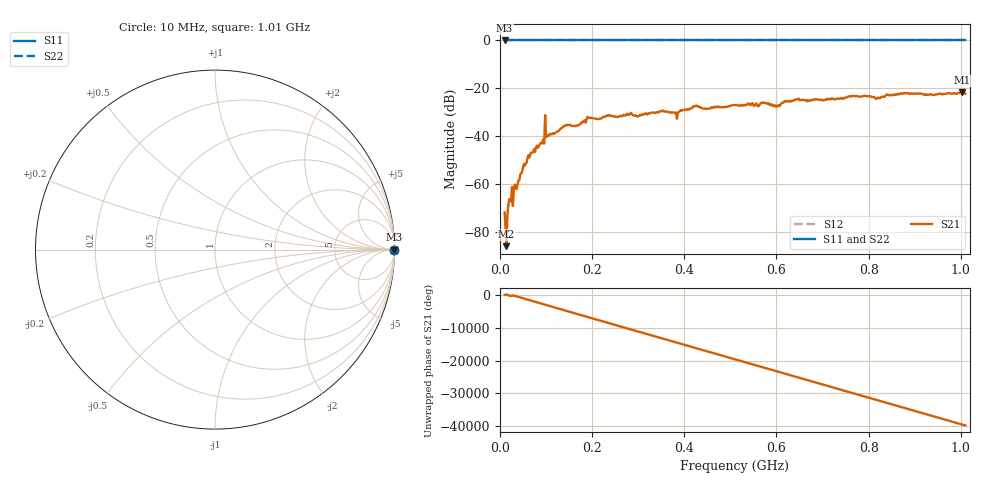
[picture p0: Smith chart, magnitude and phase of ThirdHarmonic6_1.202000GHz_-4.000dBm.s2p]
! 8/16/2025 12:26:56 PM
! C:\ANRITSUVNA\TEMP\TEMP.S2P
! CHANNEL.1
! TR.MEASUREMENT
! RAW.DATA
! RF.CORRECTION.OFF
! AVERAGING.OFF
! IF.BANDWIDTH: 5KHZ
! SWEEPTYPE:  FREQ.SWEEP(Linear)
! Reference Plane Port Info
! PORT:  PORT1  PORT2
! DISTANCE:  0  m  0  m
! TIME:  0  s  0  s
! PHASE.OFFSET:  0  deg.  0  deg.
! LOSS:  0  dB  0  dB
! REF.LOSS:  0  dB  0  dB
! REF.FREQ:  0  Hz  0  Hz
! Power Info
! POWER:  -20  dBm  -20  dBm
! EFF.POWER:  -20  dBm  -20  dBm
! SOURCE.ATTEN:  0  dB  0  dB
! TEST.ATTEN:  0  dB  0  dB
# GHZ S RI R 50.0
! FREQ.GHZ  S11RE  S11IM  S21RE  S21IM  S12RE  S12IM  S22RE  S22IM
!; PortSelection: Port_12
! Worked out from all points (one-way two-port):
!   501 points, 10 MHz to 1.01 GHz, reference 50 ohm
!   highest |S21| = -21.64 dB at 1.002 GHz (marker M1); lowest = -85.9 dB at 14 MHz (marker M2)
!   lowest |S11| = 0.0 dB at 10 MHz (marker M3)
!   |S11| at or under -10 dB: nowhere
!   |S22| runs from 0.0 to 0.0 dB; largest |S21 - S12| = 1.1
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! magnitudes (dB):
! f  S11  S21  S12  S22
! 10 MHz  0.0  -71.8  0.0  0.0
! 14 MHz  0.0  -85.9  0.0  0.0
! 22 MHz  0.0  -67.1  0.0  0.0
! 32 MHz  0.0  -60.2  0.0  0.0
! 48 MHz  0.0  -54.9  0.0  0.0
! 64 MHz  0.0  -48.9  0.0  0.0
! 92 MHz  0.0  -43.0  0.0  0.0
! 94 MHz  0.0  -41.3  0.0  0.0
! 102 MHz  0.0  -40.1  0.0  0.0
! 104 MHz  0.0  -39.7  0.0  0.0
! 142 MHz  0.0  -35.7  0.0  0.0
! 178 MHz  0.0  -34.1  0.0  0.0
! 194 MHz  0.0  -32.4  0.0  0.0
! 344 MHz  0.0  -30.1  0.0  0.0
! 382 MHz  0.0  -30.1  0.0  0.0
! 424 MHz  0.0  -27.4  0.0  0.0
! 510 MHz  0.0  -27.1  0.0  0.0
! 602 MHz  0.0  -27.2  0.0  0.0
! 678 MHz  0.0  -24.9  0.0  0.0
! 844 MHz  0.0  -22.9  0.0  0.0
! 1.002 GHz  0.0  -21.6  0.0  0.0
! 1.01 GHz  0.0  -22.3  0.0  0.0
